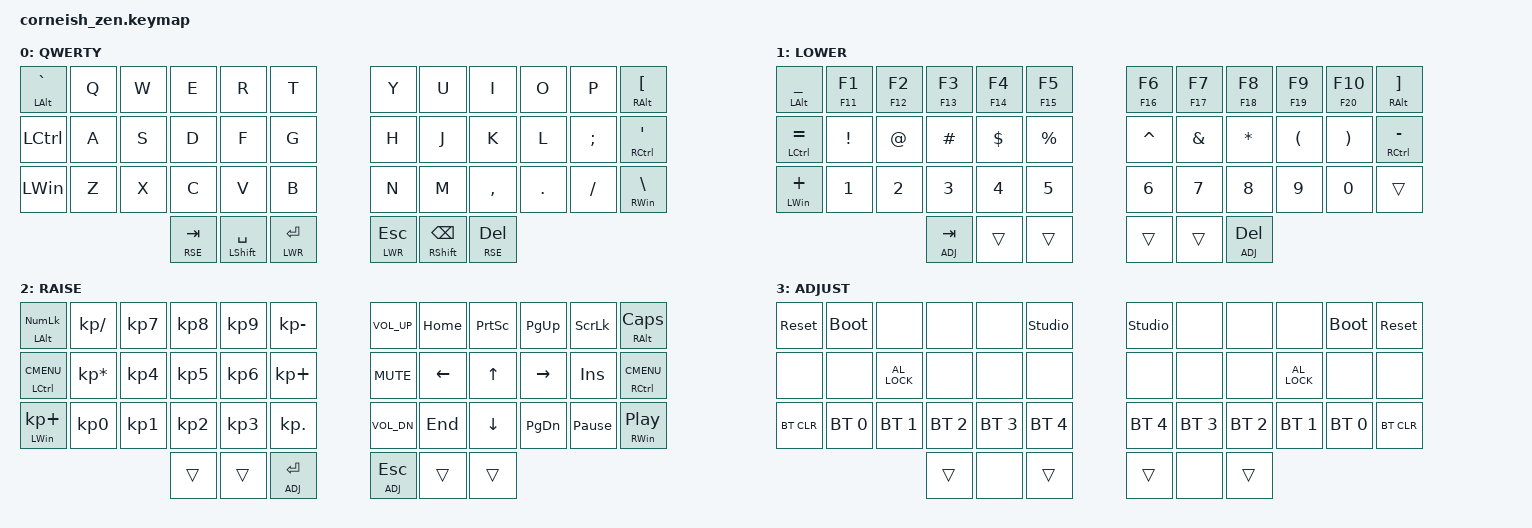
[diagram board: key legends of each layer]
 /*
 * Copyright (c) 2020 The ZMK Contributors
 *
 * SPDX-License-Identifier: MIT
 */

#include <behaviors.dtsi>
#include <dt-bindings/zmk/keys.h>
#include <dt-bindings/zmk/bt.h>

#define DEF 0
#define LWR 1
#define RSE 2
#define ADJ 3

&lt { quick_tap_ms = <250>; };
&mt { quick_tap_ms = <250>; };

/ {
        keymap {
                compatible = "zmk,keymap";

                default_layer {
                                label = "QWERTY";
//  -----------------------------------------------------------------------------------
// | ~ LALT |  Q  |  W  |  E  |  R  |  T  |   |  Y  |  U  |  I  |  O  |  P  | [ RALT  |
// |  LCTRL |  A  |  S  |  D  |  F  |  G  |   |  H  |  J  |  K  |  L  |  ;  | ' RCTRL |
// |  LWIN  |  Z  |  X  |  C  |  V  |  B  |   |  N  |  M  |  ,  |  .  |  /  | \ RWIN  |
//         | TAB RSE | SPC LSHFT | ENT LWR |   | ESC LWR | BKSP RSHFT | DEL RSE |
                        bindings = <
   &mt LALT GRAVE &kp Q &kp W &kp E &kp R &kp T &kp Y         &kp U  &kp I     &kp O   &kp P    &mt RALT LBKT
   &kp LCTRL      &kp A &kp S &kp D &kp F &kp G &kp H         &kp J  &kp K     &kp L   &kp SEMI &mt RCTRL SQT
   &kp LWIN       &kp Z &kp X &kp C &kp V &kp B &kp N         &kp M  &kp COMMA &kp DOT &kp FSLH &mt RWIN BSLH
              &lt RSE TAB &mt LSHFT SPACE &lt LWR RET         &lt LWR ESC &mt RSHFT BSPC &lt RSE DEL
                        >;
                };
                lower_layer {
                                label = "LOWER";
//  ---------------------------------------------------------------------------------------------------------------------------
// | _ LALT  |  F1 F11 |  F2 F12 |  F3 F13 |  F4 F14 |  F5 F15 |   |  F6 F16 |  F7 F17 |  F8 F18 |  F9 F19 | F10 F20 | ] RALT  |
// | = LCTRL |    !    |    @    |    #    |    $    |    %    |   |    ^    |    &    |    *    |    (    |    )    | - RCTRL |
// | + LWIN  |    1    |    2    |    3    |    4    |    5    |   |    6    |    7    |    8    |    9    |    0    | \ RWIN  |
//                             | TAB ADJ | SPC LSHFT | ENT LWR |   | ESC LWR | BKSP RSHFT | DEL ADJ |
                        bindings = <
   &mt LALT  UNDER &mt F11 F1 &mt F12 F2 &mt F13 F3 &mt F14 F4 &mt F15 F5         &mt F16 F6 &mt F17 F7 &mt F18 F8 &mt F19 F9 &mt F20 F10 &mt RALT RBKT
   &mt LCTRL EQUAL &kp EXCL   &kp AT     &kp HASH   &kp DLLR   &kp PRCNT          &kp CARET  &kp AMPS   &kp STAR   &kp LPAR   &kp RPAR    &mt RCTRL MINUS
   &mt LWIN  PLUS  &kp N1     &kp N2     &kp N3     &kp N4     &kp N5             &kp N6     &kp N7     &kp N8     &kp N9     &kp N0      &trans
                                               &lt ADJ TAB &trans &trans          &trans &trans &lt ADJ DEL
                        >;
                };
                raise_layer {
                                label = "RAISE";
//  ----------------------------------------------------------------------------------------------
// | NMLK LALT  |  /  |  7  |  8  |  9  |  -  |   | VOLU| HOME| PRSC| PGUP| SCLK| CLCK RALT       |
// | MENU LCTRL |  *  |  4  |  5  |  6  |  +  |   | MUT | LEFT|  UP | RGHT| INS | MENU RCTRL      |
// |  + LWIN    |  0  |  1  |  2  |  3  |  .  |   | VOLD| END | DOWN| PGDN| PAUS| PLAY/PAUSE RWIN |
//           | TAB RSE | SPC LSHFT | ENT ADJ |   | ESC ADJ | BKSP RSHFT | DEL RSE |
                        bindings = <
   &mt LALT  KP_NUM   &kp KP_SLASH    &kp KP_N7 &kp KP_N8 &kp KP_N9 &kp KP_MINUS         &kp C_VOL_UP &kp HOME &kp PSCRN &kp PG_UP &kp SLCK        &mt RALT CAPS
   &mt LCTRL K_CMENU &kp KP_MULTIPLY &kp KP_N4 &kp KP_N5 &kp KP_N6 &kp KP_PLUS          &kp C_MUTE   &kp LEFT &kp UP    &kp RIGHT &kp INS         &mt RCTRL K_CMENU
   &mt LWIN  KP_PLUS  &kp KP_N0       &kp KP_N1 &kp KP_N2 &kp KP_N3 &kp KP_DOT           &kp C_VOL_DN &kp END  &kp DOWN  &kp PG_DN &kp PAUSE_BREAK &mt RWIN C_PP
                                                       &trans &trans &lt ADJ RET         &lt ADJ ESC &trans &trans
                        >;
                };
                adjust_layer {
                                label = "ADJUST";
//  -----------------------------------------------------------------------------
// | RST  | BLDR|      |     |     | UNLK|   | UNLK|     |     |      | BLDR| RST  |
// |      |     | LOCK |     |     |     |   |     |     |     | LOCK |     |      |
// | BTCLR| BT0 | BT1  | BT2 | BT3 | BT4 |   | BT4 | BT3 | BT2 | BT1  | BT0 | BTCLR|
//                     |     |     |     |   |     |     |     |
                        bindings = <
   &sys_reset    &bootloader  &none             &none        &none        &studio_unlock        &studio_unlock  &none        &none        &none         &bootloader   &sys_reset
   &none         &none        &kp C_AL_LOCK     &none        &none        &none                 &none           &none        &none        &kp C_AL_LOCK &none         &none
   &bt BT_CLR    &bt BT_SEL 0 &bt BT_SEL 1      &bt BT_SEL 2 &bt BT_SEL 3 &bt BT_SEL 4          &bt BT_SEL 4    &bt BT_SEL 3 &bt BT_SEL 2 &bt BT_SEL 1  &bt BT_SEL 0  &bt BT_CLR
                                                                   &trans &none &trans          &trans &none  &trans
                        >;
                };
        };
};
